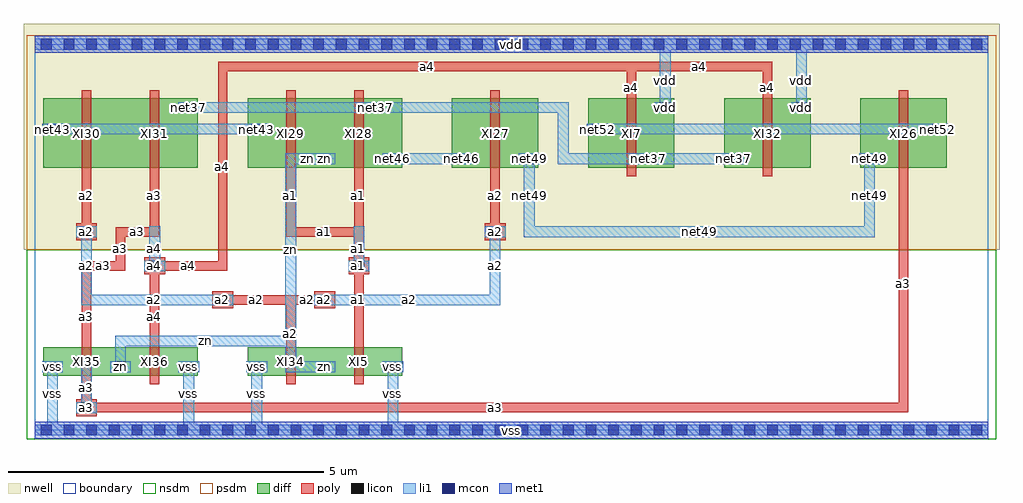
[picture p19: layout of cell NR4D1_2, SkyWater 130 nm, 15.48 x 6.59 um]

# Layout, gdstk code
import gdstk
lib = gdstk.Library(unit=1e-6, precision=1e-09)
def R(c, l, rs):  # rectangles x0, y0, x1, y1
    for r in rs: c.add(gdstk.rectangle(r[:2], r[2:], *l))
def A(c, l, x, y, w, h, nx, ny, dx, dy):  # array of equal rectangles
    R(c, l, [(x+i*dx, y+j*dy, x+i*dx+w, y+j*dy+h) for i in range(nx) for j in range(ny)])
L0_0 = (0, 0)
nwell = (64, 20)
diff = (65, 20)
poly = (66, 20)
licon = (66, 44)
li1 = (67, 20)
mcon = (67, 44)
met1 = (68, 20)
nsdm = (93, 44)
psdm = (94, 20)
boundary = (235, 4)

nr4d1_2 = lib.new_cell('NR4D1_2')
R(nr4d1_2, nwell, [(-0.18,2.86,15.3,6.445)])
A(nr4d1_2, diff, 0.135, 0.86, 0.29, 0.29, 6, 1, 1.08, 0)
A(nr4d1_2, diff, 4.455, 4.16, 1.37, 1.1, 5, 1, 2.16, 0)
A(nr4d1_2, diff, 4.455, 4.16, 0.29, 0.29, 4, 1, 1.08, 0)
A(nr4d1_2, diff, 3.375, 4.63, 0.29, 0.29, 3, 1, 5.4, 0)
R(nr4d1_2, diff, [(0.135,0.86,1.505,1.315), (1.215,0.86,2.585,1.315), (3.375,0.86,4.745,1.315), (4.455,0.86,5.825,1.315), (0.135,4.16,1.505,5.26), (1.215,4.16,2.585,5.26), (3.375,4.16,4.745,5.26), (10.935,4.16,11.225,4.45), (13.095,4.16,13.385,4.45), (0.135,4.63,0.425,4.92), (2.295,4.97,2.585,5.26), (9.855,4.97,10.145,5.26), (12.015,4.97,12.305,5.26)])
A(nr4d1_2, poly, 5.065, 4.03, 0.15, 1.36, 5, 1, 2.16, 0)
R(nr4d1_2, poly, [(0.655,0.22,0.985,0.49), (0.745,0.28,0.895,1.08), (0.745,0.28,13.855,0.43), (13.705,0.28,13.855,4.38), (0.745,0.73,0.895,1.445), (1.825,0.73,1.975,1.445), (3.985,0.73,4.135,1.445), (5.065,0.73,5.215,1.445), (0.745,0.93,0.895,2.68), (1.825,0.93,1.975,2.68), (3.985,0.93,4.135,2.14), (5.065,0.93,5.215,3.22), (2.815,1.93,3.145,2.2), (4.435,1.93,4.765,2.2), (2.905,1.99,4.135,2.14), (3.985,1.99,4.675,2.14), (1.735,2.47,2.065,2.74), (4.975,2.47,5.305,2.74), (0.745,2.53,1.435,2.68), (1.285,2.53,1.435,3.22), (1.825,2.53,3.055,2.68), (2.905,2.53,3.055,5.84), (0.655,3.01,0.985,3.28), (7.135,3.01,7.465,3.28), (0.745,3.07,0.895,4.38), (1.285,3.07,1.975,3.22), (1.825,3.07,1.975,4.38), (3.985,3.07,5.215,3.22), (3.985,3.07,4.135,4.38), (5.065,3.07,5.215,4.38), (7.225,3.07,7.375,4.38), (0.745,4.03,0.895,5.39), (1.825,4.03,1.975,5.39), (3.985,4.03,4.135,5.39), (9.385,5.04,9.535,5.84), (11.545,5.04,11.695,5.84), (2.905,5.69,9.535,5.84), (9.385,5.69,11.695,5.84)])
A(nr4d1_2, licon, 0.195, 0.92, 0.17, 0.17, 6, 1, 1.08, 0)
A(nr4d1_2, licon, 4.515, 4.22, 0.17, 0.17, 4, 1, 1.08, 0)
A(nr4d1_2, licon, 3.435, 4.69, 0.17, 0.17, 3, 1, 5.4, 0)
R(nr4d1_2, licon, [(0.735,0.27,0.905,0.44), (2.895,1.98,3.065,2.15), (4.515,1.98,4.685,2.15), (1.815,2.52,1.985,2.69), (5.055,2.52,5.225,2.69), (0.735,3.06,0.905,3.23), (7.215,3.06,7.385,3.23), (10.995,4.22,11.165,4.39), (13.155,4.22,13.325,4.39), (0.195,4.69,0.365,4.86), (2.355,5.03,2.525,5.2), (9.915,5.03,10.085,5.2), (12.075,5.03,12.245,5.2)])
A(nr4d1_2, li1, 0.115, 0.92, 0.33, 0.17, 6, 1, 1.08, 0)
A(nr4d1_2, li1, 4.435, 4.22, 0.33, 0.17, 4, 1, 1.08, 0)
A(nr4d1_2, li1, 3.355, 4.69, 0.33, 0.17, 3, 1, 5.4, 0)
R(nr4d1_2, li1, [(0,-0.085,15.12,0.085), (0.195,0.06,0.365,1.09), (2.355,0.06,2.525,1.09), (3.435,0.06,3.605,1.09), (5.595,0.06,5.765,1.09), (0.655,0.27,0.985,0.44), (0.735,0.27,0.905,1.09), (1.275,0.92,1.445,1.5), (3.975,0.92,4.145,1.5), (3.975,0.92,4.685,1.09), (1.275,1.33,4.145,1.5), (3.975,1.33,4.145,4.39), (0.735,1.98,3.065,2.15), (0.735,1.98,0.905,3.23), (2.815,1.98,3.145,2.15), (4.435,1.98,4.765,2.15), (4.515,1.98,7.385,2.15), (7.215,1.98,7.385,3.23), (1.735,2.52,2.065,2.69), (1.815,2.52,1.985,3.23), (4.975,2.52,5.305,2.69), (5.055,2.52,5.225,3.23), (0.655,3.06,0.985,3.23), (7.135,3.06,7.465,3.23), (7.755,3.06,7.925,4.39), (7.755,3.06,13.325,3.23), (13.155,3.06,13.325,4.39), (3.975,4.22,4.685,4.39), (5.595,4.22,6.845,4.39), (8.295,4.22,11.165,4.39), (8.295,4.22,8.465,5.2), (10.915,4.22,11.245,4.39), (13.075,4.22,13.405,4.39), (0.115,4.69,0.445,4.86), (0.195,4.69,3.605,4.86), (8.835,4.69,14.405,4.86), (2.275,5.03,2.605,5.2), (2.355,5.03,8.465,5.2), (9.835,5.03,10.165,5.2), (9.915,5.03,10.085,6.06), (11.995,5.03,12.325,5.2), (12.075,5.03,12.245,6.06), (0,6.035,15.12,6.205)])
A(nr4d1_2, mcon, 0.095, -0.085, 0.17, 0.17, 42, 2, 0.36, 6.12)
R(nr4d1_2, met1, [(0,-0.135,15.12,0.135), (0,5.985,15.12,6.255)])
R(nr4d1_2, nsdm, [(-0.125,-0.145,15.245,0.145), (-0.125,0.145,15.245,2.86)])
R(nr4d1_2, psdm, [(-0.125,2.86,15.245,5.975), (-0.125,5.975,15.245,6.265)])
R(nr4d1_2, boundary, [(0,0,15.12,6.12)])
nr4d1_2.add(gdstk.FlexPath([(0.115,0.355),(14.485,0.355)], 0, ends="flush", simple_path=True, layer=0, datatype=0))  # L0_0
nr4d1_2.add(gdstk.FlexPath([(0.115,1.005),(14.485,1.005)], 0, ends="flush", simple_path=True, layer=0, datatype=0))  # L0_0
nr4d1_2.add(gdstk.FlexPath([(0.115,1.415),(14.485,1.415)], 0, ends="flush", simple_path=True, layer=0, datatype=0))  # L0_0
nr4d1_2.add(gdstk.FlexPath([(0.115,2.065),(14.485,2.065)], 0, ends="flush", simple_path=True, layer=0, datatype=0))  # L0_0
nr4d1_2.add(gdstk.FlexPath([(0.115,2.605),(14.485,2.605)], 0, ends="flush", simple_path=True, layer=0, datatype=0))  # L0_0
nr4d1_2.add(gdstk.FlexPath([(0.115,3.145),(14.485,3.145)], 0, ends="flush", simple_path=True, layer=0, datatype=0))  # L0_0
nr4d1_2.add(gdstk.FlexPath([(0.115,4.305),(14.485,4.305)], 0, ends="flush", simple_path=True, layer=0, datatype=0))  # L0_0
nr4d1_2.add(gdstk.FlexPath([(0.115,4.775),(14.485,4.775)], 0, ends="flush", simple_path=True, layer=0, datatype=0))  # L0_0
nr4d1_2.add(gdstk.FlexPath([(0.115,5.115),(14.485,5.115)], 0, ends="flush", simple_path=True, layer=0, datatype=0))  # L0_0
nr4d1_2.add(gdstk.FlexPath([(0.115,5.765),(14.485,5.765)], 0, ends="flush", simple_path=True, layer=0, datatype=0))  # L0_0
nr4d1_2.add(gdstk.FlexPath([(0.28,0.06),(0.28,6.06)], 0, ends="flush", simple_path=True, layer=0, datatype=0))  # L0_0
nr4d1_2.add(gdstk.FlexPath([(0.82,0.06),(0.82,6.06)], 0, ends="flush", simple_path=True, layer=0, datatype=0))  # L0_0
nr4d1_2.add(gdstk.FlexPath([(1.36,0.06),(1.36,6.06)], 0, ends="flush", simple_path=True, layer=0, datatype=0))  # L0_0
nr4d1_2.add(gdstk.FlexPath([(1.9,0.06),(1.9,6.06)], 0, ends="flush", simple_path=True, layer=0, datatype=0))  # L0_0
nr4d1_2.add(gdstk.FlexPath([(2.44,0.06),(2.44,6.06)], 0, ends="flush", simple_path=True, layer=0, datatype=0))  # L0_0
nr4d1_2.add(gdstk.FlexPath([(2.98,0.06),(2.98,6.06)], 0, ends="flush", simple_path=True, layer=0, datatype=0))  # L0_0
nr4d1_2.add(gdstk.FlexPath([(3.52,0.06),(3.52,6.06)], 0, ends="flush", simple_path=True, layer=0, datatype=0))  # L0_0
nr4d1_2.add(gdstk.FlexPath([(4.06,0.06),(4.06,6.06)], 0, ends="flush", simple_path=True, layer=0, datatype=0))  # L0_0
nr4d1_2.add(gdstk.FlexPath([(4.6,0.06),(4.6,6.06)], 0, ends="flush", simple_path=True, layer=0, datatype=0))  # L0_0
nr4d1_2.add(gdstk.FlexPath([(5.14,0.06),(5.14,6.06)], 0, ends="flush", simple_path=True, layer=0, datatype=0))  # L0_0
nr4d1_2.add(gdstk.FlexPath([(5.68,0.06),(5.68,6.06)], 0, ends="flush", simple_path=True, layer=0, datatype=0))  # L0_0
nr4d1_2.add(gdstk.FlexPath([(6.22,0.06),(6.22,6.06)], 0, ends="flush", simple_path=True, layer=0, datatype=0))  # L0_0
nr4d1_2.add(gdstk.FlexPath([(6.76,0.06),(6.76,6.06)], 0, ends="flush", simple_path=True, layer=0, datatype=0))  # L0_0
nr4d1_2.add(gdstk.FlexPath([(7.3,0.06),(7.3,6.06)], 0, ends="flush", simple_path=True, layer=0, datatype=0))  # L0_0
nr4d1_2.add(gdstk.FlexPath([(7.84,0.06),(7.84,6.06)], 0, ends="flush", simple_path=True, layer=0, datatype=0))  # L0_0
nr4d1_2.add(gdstk.FlexPath([(8.38,0.06),(8.38,6.06)], 0, ends="flush", simple_path=True, layer=0, datatype=0))  # L0_0
nr4d1_2.add(gdstk.FlexPath([(8.92,0.06),(8.92,6.06)], 0, ends="flush", simple_path=True, layer=0, datatype=0))  # L0_0
nr4d1_2.add(gdstk.FlexPath([(9.46,0.06),(9.46,6.06)], 0, ends="flush", simple_path=True, layer=0, datatype=0))  # L0_0
nr4d1_2.add(gdstk.FlexPath([(10,0.06),(10,6.06)], 0, ends="flush", simple_path=True, layer=0, datatype=0))  # L0_0
nr4d1_2.add(gdstk.FlexPath([(10.54,0.06),(10.54,6.06)], 0, ends="flush", simple_path=True, layer=0, datatype=0))  # L0_0
nr4d1_2.add(gdstk.FlexPath([(11.08,0.06),(11.08,6.06)], 0, ends="flush", simple_path=True, layer=0, datatype=0))  # L0_0
nr4d1_2.add(gdstk.FlexPath([(11.62,0.06),(11.62,6.06)], 0, ends="flush", simple_path=True, layer=0, datatype=0))  # L0_0
nr4d1_2.add(gdstk.FlexPath([(12.16,0.06),(12.16,6.06)], 0, ends="flush", simple_path=True, layer=0, datatype=0))  # L0_0
nr4d1_2.add(gdstk.FlexPath([(12.7,0.06),(12.7,6.06)], 0, ends="flush", simple_path=True, layer=0, datatype=0))  # L0_0
nr4d1_2.add(gdstk.FlexPath([(13.24,0.06),(13.24,6.06)], 0, ends="flush", simple_path=True, layer=0, datatype=0))  # L0_0
nr4d1_2.add(gdstk.FlexPath([(13.78,0.06),(13.78,6.06)], 0, ends="flush", simple_path=True, layer=0, datatype=0))  # L0_0
nr4d1_2.add(gdstk.FlexPath([(14.32,0.06),(14.32,6.06)], 0, ends="flush", simple_path=True, layer=0, datatype=0))  # L0_0
nr4d1_2.add(gdstk.Label('XI36', (1.9,1.088), layer=65, texttype=20))
nr4d1_2.add(gdstk.Label('XI35', (0.82,1.088), layer=65, texttype=20))
nr4d1_2.add(gdstk.Label('XI34', (4.06,1.088), layer=65, texttype=20))
nr4d1_2.add(gdstk.Label('XI5', (5.14,1.088), layer=65, texttype=20))
nr4d1_2.add(gdstk.Label('XI26', (13.78,4.71), layer=65, texttype=20))
nr4d1_2.add(gdstk.Label('XI30', (0.82,4.71), layer=65, texttype=20))
nr4d1_2.add(gdstk.Label('XI31', (1.9,4.71), layer=65, texttype=20))
nr4d1_2.add(gdstk.Label('XI32', (11.62,4.71), layer=65, texttype=20))
nr4d1_2.add(gdstk.Label('XI29', (4.06,4.71), layer=65, texttype=20))
nr4d1_2.add(gdstk.Label('XI7', (9.46,4.71), layer=65, texttype=20))
nr4d1_2.add(gdstk.Label('XI27', (7.3,4.71), layer=65, texttype=20))
nr4d1_2.add(gdstk.Label('XI28', (5.14,4.71), layer=65, texttype=20))
nr4d1_2.add(gdstk.Label('zn', (1.36,1.005), layer=65, texttype=20))
nr4d1_2.add(gdstk.Label('zn', (4.6,1.005), layer=65, texttype=20))
nr4d1_2.add(gdstk.Label('zn', (4.6,4.305), layer=65, texttype=20))
nr4d1_2.add(gdstk.Label('net49', (13.24,4.305), layer=65, texttype=20))
nr4d1_2.add(gdstk.Label('net49', (7.84,4.305), layer=65, texttype=20))
nr4d1_2.add(gdstk.Label('net52', (14.32,4.775), layer=65, texttype=20))
nr4d1_2.add(gdstk.Label('net52', (8.92,4.775), layer=65, texttype=20))
nr4d1_2.add(gdstk.Label('net43', (0.28,4.775), layer=65, texttype=20))
nr4d1_2.add(gdstk.Label('net43', (3.52,4.775), layer=65, texttype=20))
nr4d1_2.add(gdstk.Label('net37', (2.44,5.115), layer=65, texttype=20))
nr4d1_2.add(gdstk.Label('net37', (11.08,4.305), layer=65, texttype=20))
nr4d1_2.add(gdstk.Label('net46', (6.76,4.305), layer=65, texttype=20))
nr4d1_2.add(gdstk.Label('net46', (5.68,4.305), layer=65, texttype=20))
nr4d1_2.add(gdstk.Label('vss', (2.44,1.005), layer=65, texttype=20))
nr4d1_2.add(gdstk.Label('vss', (0.28,1.005), layer=65, texttype=20))
nr4d1_2.add(gdstk.Label('vss', (3.52,1.005), layer=65, texttype=20))
nr4d1_2.add(gdstk.Label('vss', (5.68,1.005), layer=65, texttype=20))
nr4d1_2.add(gdstk.Label('vdd', (12.16,5.115), layer=65, texttype=20))
nr4d1_2.add(gdstk.Label('vdd', (10,5.115), layer=65, texttype=20))
nr4d1_2.add(gdstk.Label('a4', (1.9,1.805), layer=66, texttype=20))
nr4d1_2.add(gdstk.Label('a4', (2.44,2.605), layer=66, texttype=20))
nr4d1_2.add(gdstk.Label('a4', (2.98,4.185), layer=66, texttype=20))
nr4d1_2.add(gdstk.Label('a4', (6.22,5.765), layer=66, texttype=20))
nr4d1_2.add(gdstk.Label('a4', (9.46,5.44), layer=66, texttype=20))
nr4d1_2.add(gdstk.Label('a4', (11.62,5.44), layer=66, texttype=20))
nr4d1_2.add(gdstk.Label('a4', (10.54,5.765), layer=66, texttype=20))
nr4d1_2.add(gdstk.Label('a4', (1.9,2.605), layer=66, texttype=20))
nr4d1_2.add(gdstk.Label('a3', (0.82,0.68), layer=66, texttype=20))
nr4d1_2.add(gdstk.Label('a3', (7.3,0.355), layer=66, texttype=20))
nr4d1_2.add(gdstk.Label('a3', (13.78,2.33), layer=66, texttype=20))
nr4d1_2.add(gdstk.Label('a3', (0.82,1.805), layer=66, texttype=20))
nr4d1_2.add(gdstk.Label('a3', (1.09,2.605), layer=66, texttype=20))
nr4d1_2.add(gdstk.Label('a3', (1.36,2.875), layer=66, texttype=20))
nr4d1_2.add(gdstk.Label('a3', (1.63,3.145), layer=66, texttype=20))
nr4d1_2.add(gdstk.Label('a3', (1.9,3.725), layer=66, texttype=20))
nr4d1_2.add(gdstk.Label('a3', (0.82,0.355), layer=66, texttype=20))
nr4d1_2.add(gdstk.Label('a2', (4.06,1.535), layer=66, texttype=20))
nr4d1_2.add(gdstk.Label('a2', (3.52,2.065), layer=66, texttype=20))
nr4d1_2.add(gdstk.Label('a2', (2.98,2.065), layer=66, texttype=20))
nr4d1_2.add(gdstk.Label('a2', (0.82,3.145), layer=66, texttype=20))
nr4d1_2.add(gdstk.Label('a2', (0.82,3.725), layer=66, texttype=20))
nr4d1_2.add(gdstk.Label('a2', (4.33,2.065), layer=66, texttype=20))
nr4d1_2.add(gdstk.Label('a2', (4.6,2.065), layer=66, texttype=20))
nr4d1_2.add(gdstk.Label('a2', (7.3,3.145), layer=66, texttype=20))
nr4d1_2.add(gdstk.Label('a2', (7.3,3.725), layer=66, texttype=20))
nr4d1_2.add(gdstk.Label('a1', (5.14,2.075), layer=66, texttype=20))
nr4d1_2.add(gdstk.Label('a1', (4.6,3.145), layer=66, texttype=20))
nr4d1_2.add(gdstk.Label('a1', (4.06,3.725), layer=66, texttype=20))
nr4d1_2.add(gdstk.Label('a1', (5.14,3.725), layer=66, texttype=20))
nr4d1_2.add(gdstk.Label('a1', (5.14,2.605), layer=66, texttype=20))
nr4d1_2.add(gdstk.Label('zn', (1.36,1.005), layer=66, texttype=44))
nr4d1_2.add(gdstk.Label('zn', (4.6,1.005), layer=66, texttype=44))
nr4d1_2.add(gdstk.Label('zn', (4.6,4.305), layer=66, texttype=44))
nr4d1_2.add(gdstk.Label('a4', (1.9,2.605), layer=66, texttype=44))
nr4d1_2.add(gdstk.Label('a3', (0.82,0.355), layer=66, texttype=44))
nr4d1_2.add(gdstk.Label('a2', (2.98,2.065), layer=66, texttype=44))
nr4d1_2.add(gdstk.Label('a2', (0.82,3.145), layer=66, texttype=44))
nr4d1_2.add(gdstk.Label('a2', (4.6,2.065), layer=66, texttype=44))
nr4d1_2.add(gdstk.Label('a2', (7.3,3.145), layer=66, texttype=44))
nr4d1_2.add(gdstk.Label('a1', (5.14,2.605), layer=66, texttype=44))
nr4d1_2.add(gdstk.Label('net49', (13.24,4.305), layer=66, texttype=44))
nr4d1_2.add(gdstk.Label('net49', (7.84,4.305), layer=66, texttype=44))
nr4d1_2.add(gdstk.Label('net52', (14.32,4.775), layer=66, texttype=44))
nr4d1_2.add(gdstk.Label('net52', (8.92,4.775), layer=66, texttype=44))
nr4d1_2.add(gdstk.Label('net43', (0.28,4.775), layer=66, texttype=44))
nr4d1_2.add(gdstk.Label('net43', (3.52,4.775), layer=66, texttype=44))
nr4d1_2.add(gdstk.Label('net37', (2.44,5.115), layer=66, texttype=44))
nr4d1_2.add(gdstk.Label('net37', (11.08,4.305), layer=66, texttype=44))
nr4d1_2.add(gdstk.Label('net46', (6.76,4.305), layer=66, texttype=44))
nr4d1_2.add(gdstk.Label('net46', (5.68,4.305), layer=66, texttype=44))
nr4d1_2.add(gdstk.Label('vss', (2.44,1.005), layer=66, texttype=44))
nr4d1_2.add(gdstk.Label('vss', (0.28,1.005), layer=66, texttype=44))
nr4d1_2.add(gdstk.Label('vss', (3.52,1.005), layer=66, texttype=44))
nr4d1_2.add(gdstk.Label('vss', (5.68,1.005), layer=66, texttype=44))
nr4d1_2.add(gdstk.Label('vdd', (12.16,5.115), layer=66, texttype=44))
nr4d1_2.add(gdstk.Label('vdd', (10,5.115), layer=66, texttype=44))
nr4d1_2.add(gdstk.Label('zn', (1.36,1.005), layer=67, texttype=16))
nr4d1_2.add(gdstk.Label('zn', (4.6,1.005), layer=67, texttype=16))
nr4d1_2.add(gdstk.Label('zn', (4.6,4.305), layer=67, texttype=16))
nr4d1_2.add(gdstk.Label('zn', (1.36,1.21), layer=67, texttype=16))
nr4d1_2.add(gdstk.Label('zn', (2.71,1.415), layer=67, texttype=16))
nr4d1_2.add(gdstk.Label('zn', (4.06,2.86), layer=67, texttype=16))
nr4d1_2.add(gdstk.Label('zn', (4.33,4.305), layer=67, texttype=16))
nr4d1_2.add(gdstk.Label('zn', (4.33,1.005), layer=67, texttype=16))
nr4d1_2.add(gdstk.Label('zn', (4.06,1.21), layer=67, texttype=16))
nr4d1_2.add(gdstk.Label('a4', (1.9,2.605), layer=67, texttype=16))
nr4d1_2.add(gdstk.Label('a4', (1.9,2.875), layer=67, texttype=16))
nr4d1_2.add(gdstk.Label('a3', (0.82,0.355), layer=67, texttype=16))
nr4d1_2.add(gdstk.Label('a3', (0.82,0.68), layer=67, texttype=16))
nr4d1_2.add(gdstk.Label('a2', (2.98,2.065), layer=67, texttype=16))
nr4d1_2.add(gdstk.Label('a2', (1.9,2.065), layer=67, texttype=16))
nr4d1_2.add(gdstk.Label('a2', (0.82,2.605), layer=67, texttype=16))
nr4d1_2.add(gdstk.Label('a2', (0.82,3.145), layer=67, texttype=16))
nr4d1_2.add(gdstk.Label('a2', (4.6,2.065), layer=67, texttype=16))
nr4d1_2.add(gdstk.Label('a2', (5.95,2.065), layer=67, texttype=16))
nr4d1_2.add(gdstk.Label('a2', (7.3,2.605), layer=67, texttype=16))
nr4d1_2.add(gdstk.Label('a2', (7.3,3.145), layer=67, texttype=16))
nr4d1_2.add(gdstk.Label('a1', (5.14,2.605), layer=67, texttype=16))
nr4d1_2.add(gdstk.Label('a1', (5.14,2.875), layer=67, texttype=16))
nr4d1_2.add(gdstk.Label('net49', (13.24,4.305), layer=67, texttype=20))
nr4d1_2.add(gdstk.Label('net49', (7.84,4.305), layer=67, texttype=20))
nr4d1_2.add(gdstk.Label('net49', (13.24,3.725), layer=67, texttype=20))
nr4d1_2.add(gdstk.Label('net49', (10.54,3.145), layer=67, texttype=20))
nr4d1_2.add(gdstk.Label('net49', (7.84,3.725), layer=67, texttype=20))
nr4d1_2.add(gdstk.Label('net52', (14.32,4.775), layer=67, texttype=20))
nr4d1_2.add(gdstk.Label('net52', (8.92,4.775), layer=67, texttype=20))
nr4d1_2.add(gdstk.Label('net52', (11.62,4.775), layer=67, texttype=20))
nr4d1_2.add(gdstk.Label('net43', (0.28,4.775), layer=67, texttype=20))
nr4d1_2.add(gdstk.Label('net43', (3.52,4.775), layer=67, texttype=20))
nr4d1_2.add(gdstk.Label('net43', (1.9,4.775), layer=67, texttype=20))
nr4d1_2.add(gdstk.Label('net37', (2.44,5.115), layer=67, texttype=20))
nr4d1_2.add(gdstk.Label('net37', (11.08,4.305), layer=67, texttype=20))
nr4d1_2.add(gdstk.Label('net37', (5.41,5.115), layer=67, texttype=20))
nr4d1_2.add(gdstk.Label('net37', (8.38,4.71), layer=67, texttype=20))
nr4d1_2.add(gdstk.Label('net37', (9.73,4.305), layer=67, texttype=20))
nr4d1_2.add(gdstk.Label('net46', (6.76,4.305), layer=67, texttype=20))
nr4d1_2.add(gdstk.Label('net46', (5.68,4.305), layer=67, texttype=20))
nr4d1_2.add(gdstk.Label('net46', (6.22,4.305), layer=67, texttype=20))
nr4d1_2.add(gdstk.Label('vss', (2.44,1.005), layer=67, texttype=20))
nr4d1_2.add(gdstk.Label('vss', (2.44,0.575), layer=67, texttype=20))
nr4d1_2.add(gdstk.Label('vss', (0.28,1.005), layer=67, texttype=20))
nr4d1_2.add(gdstk.Label('vss', (0.28,0.575), layer=67, texttype=20))
nr4d1_2.add(gdstk.Label('vss', (3.52,1.005), layer=67, texttype=20))
nr4d1_2.add(gdstk.Label('vss', (3.52,0.575), layer=67, texttype=20))
nr4d1_2.add(gdstk.Label('vss', (5.68,1.005), layer=67, texttype=20))
nr4d1_2.add(gdstk.Label('vss', (5.68,0.575), layer=67, texttype=20))
nr4d1_2.add(gdstk.Label('vdd', (12.16,5.115), layer=67, texttype=20))
nr4d1_2.add(gdstk.Label('vdd', (12.16,5.545), layer=67, texttype=20))
nr4d1_2.add(gdstk.Label('vdd', (10,5.115), layer=67, texttype=20))
nr4d1_2.add(gdstk.Label('vdd', (10,5.545), layer=67, texttype=20))
nr4d1_2.add(gdstk.Label('vss', (7.56,0), layer=67, texttype=16))
nr4d1_2.add(gdstk.Label('vdd', (7.56,6.12), layer=67, texttype=16))
nr4d1_2.add(gdstk.Label('vss', (7.56,0), layer=68, texttype=16))
nr4d1_2.add(gdstk.Label('vdd', (7.56,6.12), layer=68, texttype=16))

lib.write_gds('NR4D1_2.gds')
